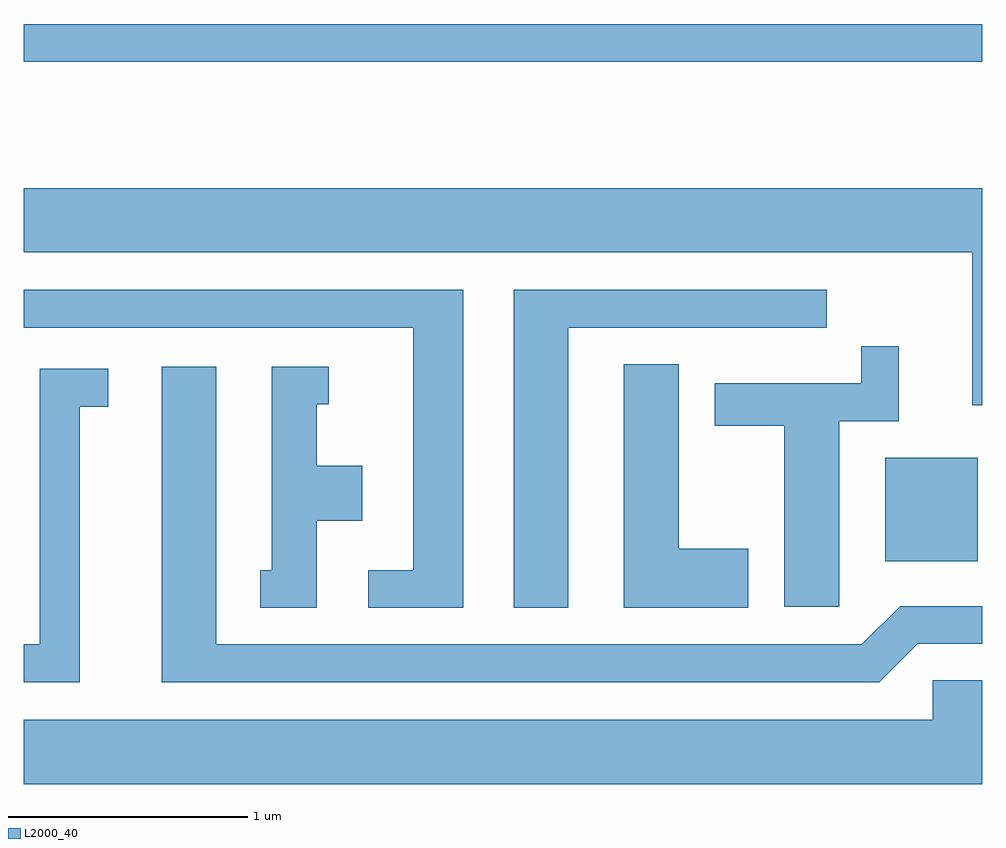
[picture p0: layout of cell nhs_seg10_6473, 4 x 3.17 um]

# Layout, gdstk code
import gdstk
lib = gdstk.Library(unit=1e-6, precision=1e-09)
def R(c, l, rs):  # rectangles x0, y0, x1, y1
    for r in rs: c.add(gdstk.rectangle(r[:2], r[2:], *l))
def P(c, l, *ps):  # polygons
    for p in ps: c.add(gdstk.Polygon(p, *l))
L2000_40 = (2000, 40)

nhs_seg10_6473 = lib.new_cell('nhs_seg10_6473')
R(nhs_seg10_6473, L2000_40, [(379.206,2185.886,379.594,2186.319), (375.611,2187.971,379.611,2188.129)])
P(nhs_seg10_6473, L2000_40, [(379.611,2187.444),(375.611,2187.444),(375.611,2187.176),(379.571,2187.176),(379.571,2186.538),(379.611,2186.538)],
  [(377.884,2186.861),(378.963,2186.861),(378.963,2187.019),(377.656,2187.019),(377.656,2185.691),(377.884,2185.691)],
  [(377.444,2187.019),(375.611,2187.019),(375.611,2186.861),(377.236,2186.861),(377.236,2185.849),(377.048,2185.849),(377.048,2185.691),(377.444,2185.691)],
  [(379.014,2186.471),(379.264,2186.471),(379.264,2186.783),(379.106,2186.783),(379.106,2186.629),(378.496,2186.629),(378.496,2186.451),(378.786,2186.451),(378.786,2185.696),(379.014,2185.696)],
  [(378.634,2185.939),(378.344,2185.939),(378.344,2186.709),(378.116,2186.709),(378.116,2185.691),(378.634,2185.691)],
  [(379.342,2185.541),(379.611,2185.541),(379.611,2185.699),(379.269,2185.699),(379.109,2185.539),(376.414,2185.539),(376.414,2186.699),(376.186,2186.699),(376.186,2185.381),(379.182,2185.381)],
  [(376.834,2186.056),(377.024,2186.056),(377.024,2186.284),(376.834,2186.284),(376.834,2186.541),(376.883,2186.541),(376.883,2186.699),(376.646,2186.699),(376.646,2185.849),(376.598,2185.849),(376.598,2185.691),(376.834,2185.691)],
  [(375.844,2186.531),(375.963,2186.531),(375.963,2186.689),(375.676,2186.689),(375.676,2185.539),(375.611,2185.539),(375.611,2185.381),(375.844,2185.381)],
  [(379.611,2185.389),(379.406,2185.389),(379.406,2185.224),(375.611,2185.224),(375.611,2184.956),(379.611,2184.956)])

lib.write_gds('nhs_seg10_6473.gds')
